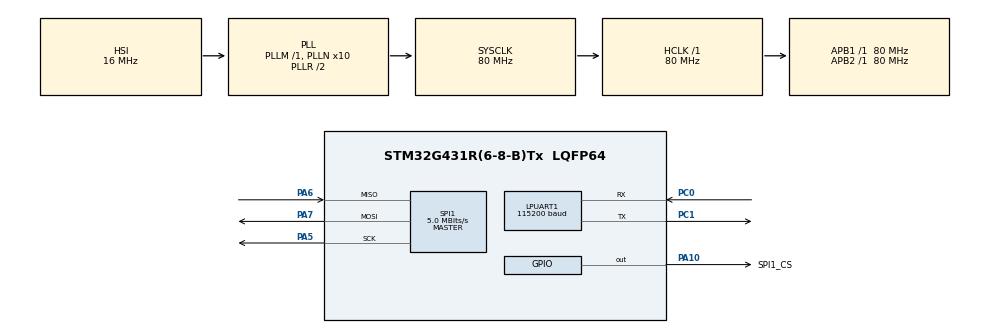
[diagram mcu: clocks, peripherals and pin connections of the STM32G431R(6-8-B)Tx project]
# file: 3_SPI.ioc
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LPUART1.BaudRate=115200
Mcu.Family=STM32G4
Mcu.Name=STM32G431R(6-8-B)Tx
Mcu.Package=LQFP64
NVIC.PriorityGroup=NVIC_PRIORITYGROUP_4
PA10.GPIO_Label=SPI1_CS
PA10.Signal=GPIO_Output
PA13.Mode=Serial_Wire
PA13.Signal=SYS_JTMS-SWDIO
PA14.Mode=Serial_Wire
PA14.Signal=SYS_JTCK-SWCLK
PA5.GPIO_Speed=GPIO_SPEED_FREQ_HIGH
PA5.Mode=Full_Duplex_Master
PA5.Signal=SPI1_SCK
PA6.GPIO_Speed=GPIO_SPEED_FREQ_HIGH
PA6.Mode=Full_Duplex_Master
PA6.Signal=SPI1_MISO
PA7.GPIO_Speed=GPIO_SPEED_FREQ_HIGH
PA7.Mode=Full_Duplex_Master
PA7.Signal=SPI1_MOSI
PC0.Mode=Asynchronous
PC0.Signal=LPUART1_RX
PC1.Mode=Asynchronous
PC1.Signal=LPUART1_TX
ProjectManager.HeapSize=0x200
ProjectManager.StackSize=0x400
ProjectManager.TargetToolchain=STM32CubeIDE
RCC.ADC12Freq_Value=80000000
RCC.AHBFreq_Value=80000000
RCC.APB1Freq_Value=80000000
RCC.APB1TimFreq_Value=80000000
RCC.APB2Freq_Value=80000000
RCC.APB2TimFreq_Value=80000000
RCC.CortexFreq_Value=80000000
RCC.EXTERNAL_CLOCK_VALUE=12288000
RCC.HCLKFreq_Value=80000000
RCC.HSE_VALUE=8000000
RCC.HSI48_VALUE=48000000
RCC.HSI_VALUE=16000000
RCC.LSE_VALUE=32768
RCC.PLLN=10
RCC.SYSCLKFreq_VALUE=80000000
RCC.SYSCLKSource=RCC_SYSCLKSOURCE_PLLCLK
RCC.USBFreq_Value=80000000
RCC.VCOOutputFreq_Value=160000000
SPI1.BaudRatePrescaler=SPI_BAUDRATEPRESCALER_16
SPI1.CalculateBaudRate=5.0 MBits/s
SPI1.DataSize=SPI_DATASIZE_8BIT
SPI1.Direction=SPI_DIRECTION_2LINES
SPI1.Mode=SPI_MODE_MASTER
SPI1.NSSPMode=SPI_NSS_PULSE_DISABLE
SPI1.VirtualType=VM_MASTER
VP_SYS_VS_DBSignals.Mode=DisableDeadBatterySignals
board=custom

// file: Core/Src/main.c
/* USER CODE BEGIN Header */
/**
  ******************************************************************************
  * @file           : main.c
  * @brief          : Main program body
  ******************************************************************************
  * @attention
  *
  * Copyright (c) 2023 STMicroelectronics.
  * All rights reserved.
  *
  * This software is licensed under terms that can be found in the LICENSE file
  * in the root directory of this software component.
  * If no LICENSE file comes with this software, it is provided AS-IS.
  *
  ******************************************************************************
  */
/* USER CODE END Header */
#include "main.h"

/* USER CODE BEGIN Includes */
#include <stdio.h>
/* USER CODE END Includes */

/* USER CODE BEGIN PD */
#define EEPROM_WREN  0x06  /* Write Enable */
#define EEPROM_WRDI  0x04  /* Write Disable */
#define EEPROM_RDSR  0x05  /* Read Status Register */
#define EEPROM_WRSR  0x01  /* Write Status Register */
#define EEPROM_READ  0x03  /* Read from Memory Array */
#define EEPROM_WRITE 0x02  /* Write to Memory Array */

#define EEPROM_WIP_FLAG        0x01  /* Write In Progress (WIP) flag */

#define EEPROM_PAGESIZE        16    /* Page size*/

/* USER CODE END PD */

UART_HandleTypeDef hlpuart1;

SPI_HandleTypeDef hspi1;

/* USER CODE BEGIN PV */
#define COUNTOF(__BUFFER__)   (sizeof(__BUFFER__) / sizeof(*(__BUFFER__)))
#define TXBUFFERSIZE                    (COUNTOF(aTxBuffer) - 1)
/* Size of Reception buffer */
#define RXBUFFERSIZE                    TXBUFFERSIZE

uint8_t aTxBuffer[] = "/* SPI HAL API EEPROM driver example: \
                        This firmware provides a basic example of how to use the SPI HAL API based and\
                        an associate SPI EEPROM driver to communicate with M95040-RMC6TG EEPROM */";
uint8_t aRxBuffer[RXBUFFERSIZE];

/* USER CODE END PV */

void SystemClock_Config(void);
static void MX_GPIO_Init(void);
static void MX_SPI1_Init(void);
static void MX_LPUART1_UART_Init(void);
/* USER CODE BEGIN PFP */
static uint8_t EEPROM_Read_Register(uint8_t inst);
static int EEPROM_Read(uint32_t address, uint8_t *buff, int size);
static int EEPROM_Write(uint32_t address, uint8_t *buff, int size);
static uint16_t Buffercmp(uint8_t* pBuffer1, uint8_t* pBuffer2, uint16_t BufferLength);

/* USER CODE END PFP */

/* USER CODE BEGIN 0 */
uint16_t Memory_Address;
int Remaining_Bytes;

int _write(int32_t file, uint8_t *ptr, int32_t len)
{
    if( HAL_UART_Transmit(&hlpuart1, ptr, len, len) == HAL_OK ) return len;
    else return 0;
}
/* USER CODE END 0 */

int main(void)
{

  /* MCU Configuration--------------------------------------------------------*/

  /* Reset of all peripherals, Initializes the Flash interface and the Systick. */
  HAL_Init();

  /* Configure the system clock */
  SystemClock_Config();

  /* Initialize all configured peripherals */
  MX_GPIO_Init();
  MX_SPI1_Init();
  MX_LPUART1_UART_Init();
  /* USER CODE BEGIN 2 */
  if((EEPROM_Read_Register(EEPROM_RDSR)&EEPROM_WIP_FLAG) == EEPROM_WIP_FLAG)
    {
      Error_Handler();
    }

    if(EEPROM_Write(0x0000, aTxBuffer, TXBUFFERSIZE) != 0x00)
    {
      Error_Handler();
    }

    if(EEPROM_Read(0x0000, aRxBuffer, RXBUFFERSIZE) != 0x00)
    {
      Error_Handler();
    }

    if(Buffercmp((uint8_t*)aTxBuffer, (uint8_t*)aRxBuffer, RXBUFFERSIZE))
    {
      /* Processing Error */
      Error_Handler();
    }

    printf("TX BUFF : %s\n", aTxBuffer);
    printf("RX BUFF : %s\n", aRxBuffer);

  /* USER CODE END 2 */

  /* Infinite loop */
  while (1)
  {

  }
}

void SystemClock_Config(void)
{
  RCC_OscInitTypeDef RCC_OscInitStruct = {0};
  RCC_ClkInitTypeDef RCC_ClkInitStruct = {0};

  /** Configure the main internal regulator output voltage
  */
  HAL_PWREx_ControlVoltageScaling(PWR_REGULATOR_VOLTAGE_SCALE1);

  /** Initializes the RCC Oscillators according to the specified parameters
  * in the RCC_OscInitTypeDef structure.
  */
  RCC_OscInitStruct.OscillatorType = RCC_OSCILLATORTYPE_HSI;
  RCC_OscInitStruct.HSIState = RCC_HSI_ON;
  RCC_OscInitStruct.HSICalibrationValue = RCC_HSICALIBRATION_DEFAULT;
  RCC_OscInitStruct.PLL.PLLState = RCC_PLL_ON;
  RCC_OscInitStruct.PLL.PLLSource = RCC_PLLSOURCE_HSI;
  RCC_OscInitStruct.PLL.PLLM = RCC_PLLM_DIV1;
  RCC_OscInitStruct.PLL.PLLN = 10;
  RCC_OscInitStruct.PLL.PLLP = RCC_PLLP_DIV2;
  RCC_OscInitStruct.PLL.PLLQ = RCC_PLLQ_DIV2;
  RCC_OscInitStruct.PLL.PLLR = RCC_PLLR_DIV2;
  if (HAL_RCC_OscConfig(&RCC_OscInitStruct) != HAL_OK)
  {
    Error_Handler();
  }

  /** Initializes the CPU, AHB and APB buses clocks
  */
  RCC_ClkInitStruct.ClockType = RCC_CLOCKTYPE_HCLK|RCC_CLOCKTYPE_SYSCLK
                              |RCC_CLOCKTYPE_PCLK1|RCC_CLOCKTYPE_PCLK2;
  RCC_ClkInitStruct.SYSCLKSource = RCC_SYSCLKSOURCE_PLLCLK;
  RCC_ClkInitStruct.AHBCLKDivider = RCC_SYSCLK_DIV1;
  RCC_ClkInitStruct.APB1CLKDivider = RCC_HCLK_DIV1;
  RCC_ClkInitStruct.APB2CLKDivider = RCC_HCLK_DIV1;

  if (HAL_RCC_ClockConfig(&RCC_ClkInitStruct, FLASH_LATENCY_2) != HAL_OK)
  {
    Error_Handler();
  }
}

static void MX_LPUART1_UART_Init(void)
{

  hlpuart1.Instance = LPUART1;
  hlpuart1.Init.BaudRate = 115200;
  hlpuart1.Init.WordLength = UART_WORDLENGTH_8B;
  hlpuart1.Init.StopBits = UART_STOPBITS_1;
  hlpuart1.Init.Parity = UART_PARITY_NONE;
  hlpuart1.Init.Mode = UART_MODE_TX_RX;
  hlpuart1.Init.HwFlowCtl = UART_HWCONTROL_NONE;
  hlpuart1.Init.OneBitSampling = UART_ONE_BIT_SAMPLE_DISABLE;
  hlpuart1.Init.ClockPrescaler = UART_PRESCALER_DIV1;
  hlpuart1.AdvancedInit.AdvFeatureInit = UART_ADVFEATURE_NO_INIT;
  if (HAL_UART_Init(&hlpuart1) != HAL_OK)
  {
    Error_Handler();
  }
  if (HAL_UARTEx_SetTxFifoThreshold(&hlpuart1, UART_TXFIFO_THRESHOLD_1_8) != HAL_OK)
  {
    Error_Handler();
  }
  if (HAL_UARTEx_SetRxFifoThreshold(&hlpuart1, UART_RXFIFO_THRESHOLD_1_8) != HAL_OK)
  {
    Error_Handler();
  }
  if (HAL_UARTEx_DisableFifoMode(&hlpuart1) != HAL_OK)
  {
    Error_Handler();
  }

}

static void MX_SPI1_Init(void)
{

  /* SPI1 parameter configuration*/
  hspi1.Instance = SPI1;
  hspi1.Init.Mode = SPI_MODE_MASTER;
  hspi1.Init.Direction = SPI_DIRECTION_2LINES;
  hspi1.Init.DataSize = SPI_DATASIZE_8BIT;
  hspi1.Init.CLKPolarity = SPI_POLARITY_LOW;
  hspi1.Init.CLKPhase = SPI_PHASE_1EDGE;
  hspi1.Init.NSS = SPI_NSS_SOFT;
  hspi1.Init.BaudRatePrescaler = SPI_BAUDRATEPRESCALER_16;
  hspi1.Init.FirstBit = SPI_FIRSTBIT_MSB;
  hspi1.Init.TIMode = SPI_TIMODE_DISABLE;
  hspi1.Init.CRCCalculation = SPI_CRCCALCULATION_DISABLE;
  hspi1.Init.CRCPolynomial = 7;
  hspi1.Init.CRCLength = SPI_CRC_LENGTH_DATASIZE;
  hspi1.Init.NSSPMode = SPI_NSS_PULSE_DISABLE;
  if (HAL_SPI_Init(&hspi1) != HAL_OK)
  {
    Error_Handler();
  }

}

static void MX_GPIO_Init(void)
{
  GPIO_InitTypeDef GPIO_InitStruct = {0};

  /* GPIO Ports Clock Enable */
  __HAL_RCC_GPIOC_CLK_ENABLE();
  __HAL_RCC_GPIOA_CLK_ENABLE();

  /*Configure GPIO pin Output Level */
  HAL_GPIO_WritePin(SPI1_CS_GPIO_Port, SPI1_CS_Pin, GPIO_PIN_RESET);

  /*Configure GPIO pin : SPI1_CS_Pin */
  GPIO_InitStruct.Pin = SPI1_CS_Pin;
  GPIO_InitStruct.Mode = GPIO_MODE_OUTPUT_PP;
  GPIO_InitStruct.Pull = GPIO_NOPULL;
  GPIO_InitStruct.Speed = GPIO_SPEED_FREQ_LOW;
  HAL_GPIO_Init(SPI1_CS_GPIO_Port, &GPIO_InitStruct);

}

/* USER CODE BEGIN 4 */
static uint8_t EEPROM_Read_Register(uint8_t inst)
{
  uint8_t instruction = 0xff;
  uint8_t result = 0xff;

  instruction = inst;

  HAL_GPIO_WritePin(SPI1_CS_GPIO_Port, SPI1_CS_Pin, GPIO_PIN_RESET);

  if(HAL_SPI_Transmit(&hspi1, (uint8_t *)&instruction, 1, 100) != HAL_OK)
  {
    return -1;
  }

  if(HAL_SPI_Receive(&hspi1, (uint8_t *)&result, 1, 100) != HAL_OK)
  {
    return -1;
  }
  HAL_GPIO_WritePin(SPI1_CS_GPIO_Port, SPI1_CS_Pin, GPIO_PIN_SET);

  return result;
}

static int EEPROM_Read(uint32_t address, uint8_t *buff, int size)
{
  uint8_t instruction[2];

  instruction[0] = (uint8_t)(((address >> 8) << 3) | (EEPROM_READ));
  instruction[1] = (uint8_t)((address) & (0x000000ff));

  HAL_GPIO_WritePin(SPI1_CS_GPIO_Port, SPI1_CS_Pin, GPIO_PIN_RESET);

  if(HAL_SPI_Transmit(&hspi1, (uint8_t *)instruction, 2, 200) != HAL_OK)
  {
    return -1;
  }

  if(HAL_SPI_Receive(&hspi1, (uint8_t *)buff, size, (100 * size)) != HAL_OK)
  {
    return -1;
  }
  HAL_GPIO_WritePin(SPI1_CS_GPIO_Port, SPI1_CS_Pin, GPIO_PIN_SET);

  return 0;
}

static int EEPROM_Write(uint32_t address, uint8_t *buff, int size)
{
  uint8_t instruction[2];

  /* Initialize Remaining Bytes Value to TX Buffer Size */
  Remaining_Bytes = size;
  /* Initialize Memory address to 0 since EEPROM write will start from address 0 */
  Memory_Address = address;

  while(Remaining_Bytes > 0)
  {
    /* write enable */
    HAL_GPIO_WritePin(SPI1_CS_GPIO_Port, SPI1_CS_Pin, GPIO_PIN_RESET);

    instruction[0] = EEPROM_WREN;

    if(HAL_SPI_Transmit(&hspi1, (uint8_t *)instruction, 1, 200) != HAL_OK)
    {
      Error_Handler();
    }
    HAL_GPIO_WritePin(SPI1_CS_GPIO_Port, SPI1_CS_Pin, GPIO_PIN_SET);

    /* write data */
    instruction[0] = (uint8_t)(((Memory_Address >> 8) << 3) | (EEPROM_WRITE));
    instruction[1] = (uint8_t)((Memory_Address) & (0x000000ff));

    HAL_GPIO_WritePin(SPI1_CS_GPIO_Port, SPI1_CS_Pin, GPIO_PIN_RESET);
    if(HAL_SPI_Transmit(&hspi1, (uint8_t *)instruction, 2, 200) != HAL_OK)
    {
      return -1;
    }
    if(HAL_SPI_Transmit(&hspi1, (uint8_t *)(buff + Memory_Address), EEPROM_PAGESIZE, EEPROM_PAGESIZE*100) != HAL_OK)
    {
      Error_Handler();
    }
    HAL_GPIO_WritePin(SPI1_CS_GPIO_Port, SPI1_CS_Pin, GPIO_PIN_SET);

    /* wait until finish */
    HAL_GPIO_WritePin(SPI1_CS_GPIO_Port, SPI1_CS_Pin, GPIO_PIN_RESET);
    while((EEPROM_Read_Register(EEPROM_RDSR)&EEPROM_WIP_FLAG) == EEPROM_WIP_FLAG)
    {
      HAL_Delay(1);
    }
    HAL_GPIO_WritePin(SPI1_CS_GPIO_Port, SPI1_CS_Pin, GPIO_PIN_SET);

    /* write disable */
    HAL_GPIO_WritePin(SPI1_CS_GPIO_Port, SPI1_CS_Pin, GPIO_PIN_RESET);
    instruction[0] = EEPROM_WRDI;

    if(HAL_SPI_Transmit(&hspi1, (uint8_t *)instruction, 1, 200) != HAL_OK)
    {
      return -1;
    }
    HAL_GPIO_WritePin(SPI1_CS_GPIO_Port, SPI1_CS_Pin, GPIO_PIN_SET);

    Remaining_Bytes -= EEPROM_PAGESIZE;
    Memory_Address += EEPROM_PAGESIZE;
  }

  return 0;
}

static uint16_t Buffercmp(uint8_t* pBuffer1, uint8_t* pBuffer2, uint16_t BufferLength)
{
  while (BufferLength--)
  {
    if ((*pBuffer1) != *pBuffer2)
    {
      return BufferLength;
    }
    pBuffer1++;
    pBuffer2++;
  }

  return 0;
}

/* USER CODE END 4 */

void Error_Handler(void)
{
  __disable_irq();
  while (1)
  {
  }
}
